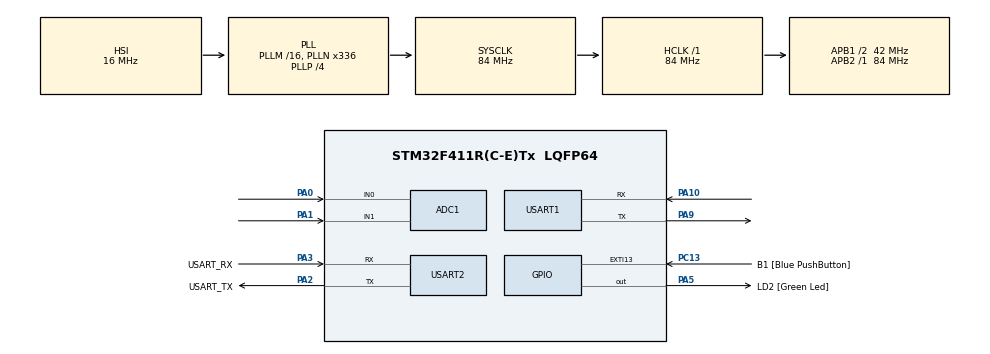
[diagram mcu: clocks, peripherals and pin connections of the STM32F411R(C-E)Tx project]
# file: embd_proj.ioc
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ADC1.Channel-1\#ChannelRegularConversion=ADC_CHANNEL_0
ADC1.NbrOfConversionFlag=1
ADC1.Rank-1\#ChannelRegularConversion=1
ADC1.SamplingTime-1\#ChannelRegularConversion=ADC_SAMPLETIME_15CYCLES
ADC1.master=1
Mcu.Family=STM32F4
Mcu.Name=STM32F411R(C-E)Tx
Mcu.Package=LQFP64
NVIC.PriorityGroup=NVIC_PRIORITYGROUP_0
PA0-WKUP.Signal=ADCx_IN0
PA1.Signal=ADCx_IN1
PA10.Mode=Asynchronous
PA10.Signal=USART1_RX
PA13.GPIO_Label=TMS
PA13.Mode=Serial_Wire
PA13.Signal=SYS_JTMS-SWDIO
PA14.GPIO_Label=TCK
PA14.Mode=Serial_Wire
PA14.Signal=SYS_JTCK-SWCLK
PA2.GPIO_Label=USART_TX
PA2.Mode=Asynchronous
PA2.Signal=USART2_TX
PA3.GPIO_Label=USART_RX
PA3.Mode=Asynchronous
PA3.Signal=USART2_RX
PA5.GPIO_Label=LD2 [Green Led]
PA5.Signal=GPIO_Output
PA9.Mode=Asynchronous
PA9.Signal=USART1_TX
PB3.GPIO_Label=SWO
PB3.Signal=SYS_JTDO-SWO
PC13-ANTI_TAMP.GPIO_Label=B1 [Blue PushButton]
PC13-ANTI_TAMP.GPIO_ModeDefaultEXTI=GPIO_MODE_IT_FALLING
PC13-ANTI_TAMP.Signal=GPXTI13
PC14-OSC32_IN.Mode=LSE-External-Oscillator
PC14-OSC32_IN.Signal=RCC_OSC32_IN
PC15-OSC32_OUT.Mode=LSE-External-Oscillator
PC15-OSC32_OUT.Signal=RCC_OSC32_OUT
PH0\ -\ OSC_IN.Mode=HSE-External-Clock-Source
PH0\ -\ OSC_IN.Signal=RCC_OSC_IN
PH1\ -\ OSC_OUT.Mode=HSE-External-Clock-Source
PH1\ -\ OSC_OUT.Signal=RCC_OSC_OUT
ProjectManager.HeapSize=0x200
ProjectManager.StackSize=0x400
ProjectManager.TargetToolchain=STM32CubeIDE
RCC.48MHZClocksFreq_Value=84000000
RCC.AHBFreq_Value=84000000
RCC.APB1CLKDivider=RCC_HCLK_DIV2
RCC.APB1Freq_Value=42000000
RCC.APB1TimFreq_Value=84000000
RCC.APB2Freq_Value=84000000
RCC.APB2TimFreq_Value=84000000
RCC.CortexFreq_Value=84000000
RCC.FLatency-AdvancedSettings=FLASH_LATENCY_2
RCC.HCLKFreq_Value=84000000
RCC.HSE_VALUE=8000000
RCC.HSI_VALUE=16000000
RCC.PLLN=336
RCC.PLLP=RCC_PLLP_DIV4
RCC.SYSCLKFreq_VALUE=84000000
RCC.SYSCLKSource=RCC_SYSCLKSOURCE_PLLCLK
RCC.VCOOutputFreq_Value=336000000
SH.ADCx_IN0.0=ADC1_IN0,IN0
SH.ADCx_IN1.0=ADC1_IN1,IN1
USART1.VirtualMode=VM_ASYNC
USART2.VirtualMode=VM_ASYNC
board=NUCLEO-F411RE

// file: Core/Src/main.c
/* USER CODE BEGIN Header */
/**
  ******************************************************************************
  * @file           : main.c
  * @brief          : Main program body
  ******************************************************************************
  * @attention
  *
  * Copyright (c) 2024 STMicroelectronics.
  * All rights reserved.
  *
  * This software is licensed under terms that can be found in the LICENSE file
  * in the root directory of this software component.
  * If no LICENSE file comes with this software, it is provided AS-IS.
  *
  ******************************************************************************
  */
/* USER CODE END Header */
#include "main.h"

/* USER CODE BEGIN Includes */
#include <stdio.h>
#include <string.h>
/* USER CODE END Includes */

ADC_HandleTypeDef hadc1;

UART_HandleTypeDef huart1;
UART_HandleTypeDef huart2;

/* USER CODE BEGIN PV */
char msg[20];
//char data[50];
/* USER CODE END PV */

void SystemClock_Config(void);
static void MX_GPIO_Init(void);
static void MX_USART2_UART_Init(void);
static void MX_ADC1_Init(void);
static void MX_USART1_UART_Init(void);
/* USER CODE BEGIN PFP */
uint32_t readADC(uint32_t channel);
/* USER CODE END PFP */

int main(void)
{

  /* MCU Configuration--------------------------------------------------------*/

  /* Reset of all peripherals, Initializes the Flash interface and the Systick. */
  HAL_Init();

  /* Configure the system clock */
  SystemClock_Config();

  /* Initialize all configured peripherals */
  MX_GPIO_Init();
  MX_USART2_UART_Init();
  MX_ADC1_Init();
  MX_USART1_UART_Init();

  /* Infinite loop */
  while (1)
  {

    /* USER CODE BEGIN 3 */
//	  HAL_ADC_Start(&hadc1);
//	  HAL_ADC_PollForConversion(&hadc1, 20);
//	  lux = HAL_ADC_GetValue(&hadc1);
//	  sprintf(msg, "Light: %hu \r\n", lux);
//	  HAL_UART_Transmit(&huart2, (uint8_t *)msg, strlen(msg), HAL_MAX_DELAY);
//	  HAL_Delay(500);

	  uint32_t ldr_value = readADC(ADC_CHANNEL_0); // Read LDR from PA0
	  uint32_t mq7_value = readADC(ADC_CHANNEL_1); // Read MQ-7 from PA1

	  sprintf(msg, "LDR:%hu MQ-7:%hu \r\n", ldr_value, mq7_value);
	  HAL_UART_Transmit(&huart2, (uint8_t*)msg, strlen(msg), HAL_MAX_DELAY);

	  char data[50];
	  sprintf(data,"%hu|%hu", ldr_value, mq7_value);
//	  sprintf(data,"%d|%d", 69, 24);
	  HAL_UART_Transmit(&huart1, data, strlen(data), HAL_MAX_DELAY);

	  HAL_Delay(1000);
  }
  /* USER CODE END 3 */
}

void SystemClock_Config(void)
{
  RCC_OscInitTypeDef RCC_OscInitStruct = {0};
  RCC_ClkInitTypeDef RCC_ClkInitStruct = {0};

  /** Configure the main internal regulator output voltage
  */
  __HAL_RCC_PWR_CLK_ENABLE();
  __HAL_PWR_VOLTAGESCALING_CONFIG(PWR_REGULATOR_VOLTAGE_SCALE1);

  /** Initializes the RCC Oscillators according to the specified parameters
  * in the RCC_OscInitTypeDef structure.
  */
  RCC_OscInitStruct.OscillatorType = RCC_OSCILLATORTYPE_HSI;
  RCC_OscInitStruct.HSIState = RCC_HSI_ON;
  RCC_OscInitStruct.HSICalibrationValue = RCC_HSICALIBRATION_DEFAULT;
  RCC_OscInitStruct.PLL.PLLState = RCC_PLL_ON;
  RCC_OscInitStruct.PLL.PLLSource = RCC_PLLSOURCE_HSI;
  RCC_OscInitStruct.PLL.PLLM = 16;
  RCC_OscInitStruct.PLL.PLLN = 336;
  RCC_OscInitStruct.PLL.PLLP = RCC_PLLP_DIV4;
  RCC_OscInitStruct.PLL.PLLQ = 4;
  if (HAL_RCC_OscConfig(&RCC_OscInitStruct) != HAL_OK)
  {
    Error_Handler();
  }

  /** Initializes the CPU, AHB and APB buses clocks
  */
  RCC_ClkInitStruct.ClockType = RCC_CLOCKTYPE_HCLK|RCC_CLOCKTYPE_SYSCLK
                              |RCC_CLOCKTYPE_PCLK1|RCC_CLOCKTYPE_PCLK2;
  RCC_ClkInitStruct.SYSCLKSource = RCC_SYSCLKSOURCE_PLLCLK;
  RCC_ClkInitStruct.AHBCLKDivider = RCC_SYSCLK_DIV1;
  RCC_ClkInitStruct.APB1CLKDivider = RCC_HCLK_DIV2;
  RCC_ClkInitStruct.APB2CLKDivider = RCC_HCLK_DIV1;

  if (HAL_RCC_ClockConfig(&RCC_ClkInitStruct, FLASH_LATENCY_2) != HAL_OK)
  {
    Error_Handler();
  }
}

static void MX_ADC1_Init(void)
{

  ADC_ChannelConfTypeDef sConfig = {0};

  /** Configure the global features of the ADC (Clock, Resolution, Data Alignment and number of conversion)
  */
  hadc1.Instance = ADC1;
  hadc1.Init.ClockPrescaler = ADC_CLOCK_SYNC_PCLK_DIV4;
  hadc1.Init.Resolution = ADC_RESOLUTION_12B;
  hadc1.Init.ScanConvMode = DISABLE;
  hadc1.Init.ContinuousConvMode = DISABLE;
  hadc1.Init.DiscontinuousConvMode = DISABLE;
  hadc1.Init.ExternalTrigConvEdge = ADC_EXTERNALTRIGCONVEDGE_NONE;
  hadc1.Init.ExternalTrigConv = ADC_SOFTWARE_START;
  hadc1.Init.DataAlign = ADC_DATAALIGN_RIGHT;
  hadc1.Init.NbrOfConversion = 1;
  hadc1.Init.DMAContinuousRequests = DISABLE;
  hadc1.Init.EOCSelection = ADC_EOC_SINGLE_CONV;
  if (HAL_ADC_Init(&hadc1) != HAL_OK)
  {
    Error_Handler();
  }

  /** Configure for the selected ADC regular channel its corresponding rank in the sequencer and its sample time.
  */
  sConfig.Channel = ADC_CHANNEL_0;
  sConfig.Rank = 1;
  sConfig.SamplingTime = ADC_SAMPLETIME_15CYCLES;
  if (HAL_ADC_ConfigChannel(&hadc1, &sConfig) != HAL_OK)
  {
    Error_Handler();
  }

}

static void MX_USART1_UART_Init(void)
{

  huart1.Instance = USART1;
  huart1.Init.BaudRate = 115200;
  huart1.Init.WordLength = UART_WORDLENGTH_8B;
  huart1.Init.StopBits = UART_STOPBITS_1;
  huart1.Init.Parity = UART_PARITY_NONE;
  huart1.Init.Mode = UART_MODE_TX_RX;
  huart1.Init.HwFlowCtl = UART_HWCONTROL_NONE;
  huart1.Init.OverSampling = UART_OVERSAMPLING_16;
  if (HAL_UART_Init(&huart1) != HAL_OK)
  {
    Error_Handler();
  }

}

static void MX_USART2_UART_Init(void)
{

  huart2.Instance = USART2;
  huart2.Init.BaudRate = 115200;
  huart2.Init.WordLength = UART_WORDLENGTH_8B;
  huart2.Init.StopBits = UART_STOPBITS_1;
  huart2.Init.Parity = UART_PARITY_NONE;
  huart2.Init.Mode = UART_MODE_TX_RX;
  huart2.Init.HwFlowCtl = UART_HWCONTROL_NONE;
  huart2.Init.OverSampling = UART_OVERSAMPLING_16;
  if (HAL_UART_Init(&huart2) != HAL_OK)
  {
    Error_Handler();
  }

}

static void MX_GPIO_Init(void)
{
  GPIO_InitTypeDef GPIO_InitStruct = {0};

  /* GPIO Ports Clock Enable */
  __HAL_RCC_GPIOC_CLK_ENABLE();
  __HAL_RCC_GPIOH_CLK_ENABLE();
  __HAL_RCC_GPIOA_CLK_ENABLE();
  __HAL_RCC_GPIOB_CLK_ENABLE();

  /*Configure GPIO pin Output Level */
  HAL_GPIO_WritePin(LD2_GPIO_Port, LD2_Pin, GPIO_PIN_RESET);

  /*Configure GPIO pin : B1_Pin */
  GPIO_InitStruct.Pin = B1_Pin;
  GPIO_InitStruct.Mode = GPIO_MODE_IT_FALLING;
  GPIO_InitStruct.Pull = GPIO_NOPULL;
  HAL_GPIO_Init(B1_GPIO_Port, &GPIO_InitStruct);

  /*Configure GPIO pin : LD2_Pin */
  GPIO_InitStruct.Pin = LD2_Pin;
  GPIO_InitStruct.Mode = GPIO_MODE_OUTPUT_PP;
  GPIO_InitStruct.Pull = GPIO_NOPULL;
  GPIO_InitStruct.Speed = GPIO_SPEED_FREQ_LOW;
  HAL_GPIO_Init(LD2_GPIO_Port, &GPIO_InitStruct);

}

/* USER CODE BEGIN 4 */
uint32_t readADC(uint32_t channel) {
  ADC_ChannelConfTypeDef sConfig = {0};

  sConfig.Channel = channel;
  sConfig.Rank = 1;
  sConfig.SamplingTime = ADC_SAMPLETIME_3CYCLES;

  if (HAL_ADC_ConfigChannel(&hadc1, &sConfig) != HAL_OK) {
    Error_Handler();
  }

  HAL_ADC_Start(&hadc1);
  HAL_ADC_PollForConversion(&hadc1, HAL_MAX_DELAY);

  return HAL_ADC_GetValue(&hadc1);
}
/* USER CODE END 4 */

void Error_Handler(void)
{
  __disable_irq();
  while (1)
  {
  }
}
